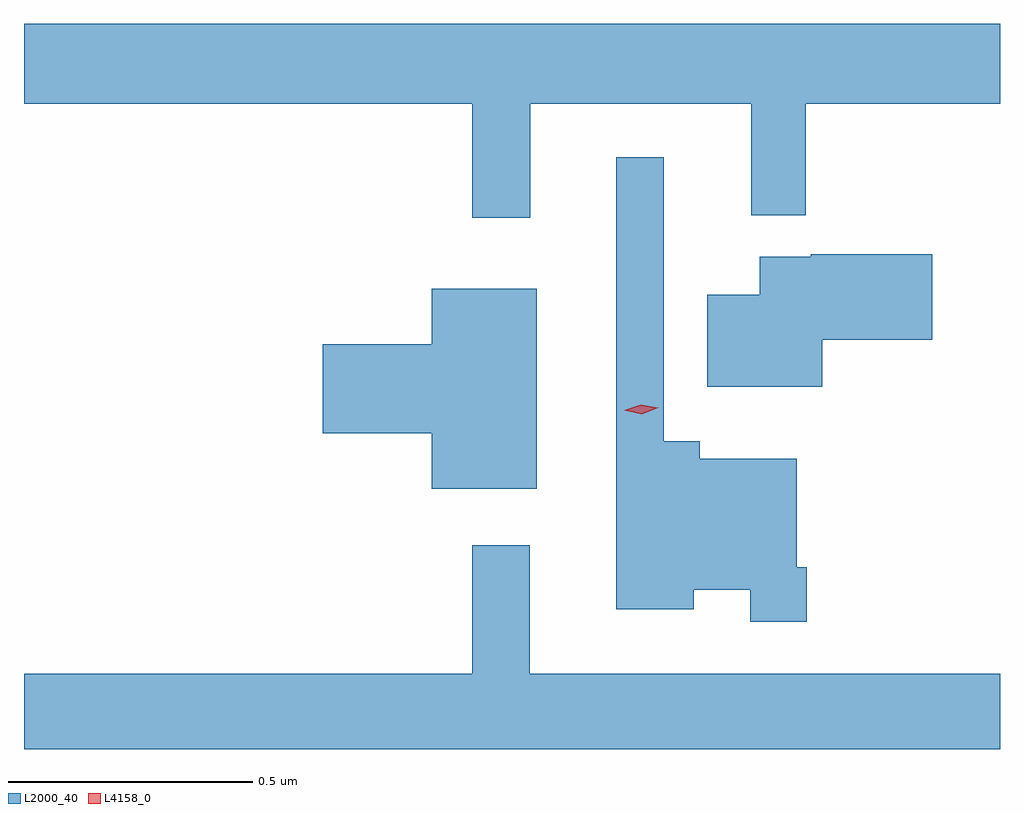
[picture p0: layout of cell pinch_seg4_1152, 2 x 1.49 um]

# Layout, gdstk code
import gdstk
lib = gdstk.Library(unit=1e-6, precision=1e-09)
def P(c, l, *ps):  # polygons
    for p in ps: c.add(gdstk.Polygon(p, *l))
L2000_40 = (2000, 40)
L4158_0 = (4158, 0)

pinch_seg4_1152 = lib.new_cell('pinch_seg4_1152')
P(pinch_seg4_1152, L2000_40, [(494.561,816.8),(495.014,816.8),(495.014,816.572),(495.126,816.572),(495.126,816.8),(495.524,816.8),(495.524,816.964),(493.524,816.964),(493.524,816.8),(494.443,816.8),(494.443,816.567),(494.561,816.567)],
  [(495.128,815.851),(495.108,815.851),(495.108,816.073),(494.909,816.073),(494.909,816.109),(494.835,816.109),(494.835,816.691),(494.738,816.691),(494.738,815.765),(494.896,815.765),(494.896,815.804),(495.012,815.804),(495.012,815.739),(495.128,815.739)],
  [(495.16,816.317),(495.385,816.317),(495.385,816.492),(495.136,816.492),(495.136,816.487),(495.032,816.487),(495.032,816.409),(494.924,816.409),(494.924,816.221),(495.16,816.221)],
  [(494.575,816.421),(494.36,816.421),(494.36,816.308),(494.136,816.308),(494.136,816.125),(494.36,816.125),(494.36,816.011),(494.575,816.011)],
  [(495.524,815.632),(494.56,815.632),(494.56,815.896),(494.443,815.896),(494.443,815.632),(493.524,815.632),(493.524,815.478),(495.524,815.478)])
P(pinch_seg4_1152, L4158_0, [(494.79,816.164),(494.754,816.172),(494.753,816.172),(494.754,816.172),(494.788,816.184),(494.824,816.177),(494.825,816.177),(494.824,816.177)])

lib.write_gds('pinch_seg4_1152.gds')
